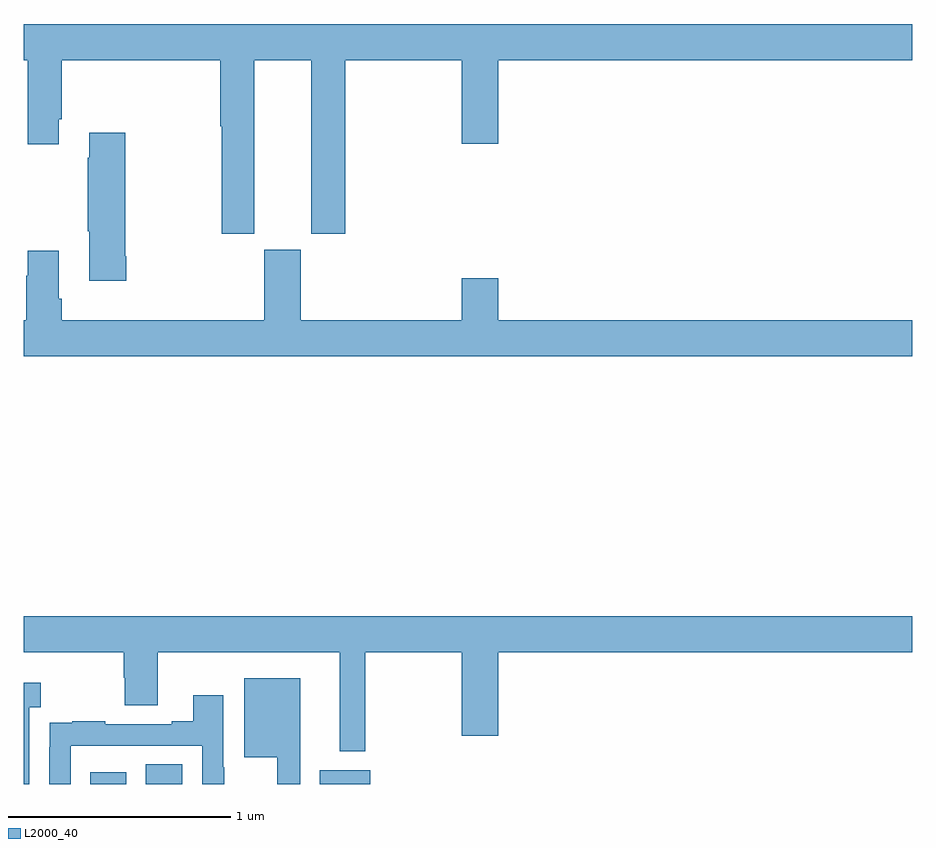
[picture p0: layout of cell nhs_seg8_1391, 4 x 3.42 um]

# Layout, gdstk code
import gdstk
lib = gdstk.Library(unit=1e-6, precision=1e-09)
def R(c, l, rs):  # rectangles x0, y0, x1, y1
    for r in rs: c.add(gdstk.rectangle(r[:2], r[2:], *l))
def P(c, l, *ps):  # polygons
    for p in ps: c.add(gdstk.Polygon(p, *l))
L2000_40 = (2000, 40)

nhs_seg8_1391 = lib.new_cell('nhs_seg8_1391')
R(nhs_seg8_1391, L2000_40, [(199.301,1123.9,199.462,1123.954), (199.55,1123.9,199.714,1123.988), (200.333,1123.9,200.56,1123.963)])
P(nhs_seg8_1391, L2000_40, [(200.038,1127.156),(200.294,1127.156),(200.294,1126.377),(200.447,1126.377),(200.447,1127.156),(200.972,1127.156),(200.972,1126.782),(201.136,1126.782),(201.136,1127.156),(203,1127.156),(203,1127.32),(199,1127.32),(199,1127.156),(199.019,1127.156),(199.019,1126.779),(199.159,1126.779),(199.159,1126.891),(199.172,1126.891),(199.172,1127.156),(199.886,1127.156),(199.886,1126.86),(199.891,1126.86),(199.891,1126.377),(200.038,1126.377)],
  [(199.463,1126.276),(199.458,1126.276),(199.458,1126.831),(199.295,1126.831),(199.295,1126.718),(199.288,1126.718),(199.288,1126.387),(199.295,1126.387),(199.295,1126.164),(199.463,1126.164)],
  [(203,1125.988),(201.136,1125.988),(201.136,1126.177),(200.972,1126.177),(200.972,1125.988),(200.248,1125.988),(200.248,1126.305),(200.084,1126.305),(200.084,1125.988),(199.172,1125.988),(199.172,1126.084),(199.159,1126.084),(199.159,1126.3),(199.019,1126.3),(199.019,1126.187),(199.012,1126.187),(199.012,1125.988),(199,1125.988),(199,1125.824),(203,1125.824)],
  [(199,1124.492),(199.451,1124.492),(199.451,1124.379),(199.456,1124.379),(199.456,1124.254),(199.603,1124.254),(199.603,1124.492),(200.423,1124.492),(200.423,1124.048),(200.537,1124.048),(200.537,1124.492),(200.972,1124.492),(200.972,1124.118),(201.136,1124.118),(201.136,1124.492),(203,1124.492),(203,1124.656),(199,1124.656)],
  [(200.245,1124.377),(199.994,1124.377),(199.994,1124.021),(200.141,1124.021),(200.141,1123.9),(200.245,1123.9)],
  [(199.026,1124.246),(199.078,1124.246),(199.078,1124.356),(199,1124.356),(199,1123.9),(199.026,1123.9)],
  [(199.212,1124.073),(199.803,1124.073),(199.803,1123.9),(199.902,1123.9),(199.902,1123.976),(199.899,1123.976),(199.899,1124.299),(199.763,1124.299),(199.763,1124.182),(199.667,1124.182),(199.667,1124.169),(199.367,1124.169),(199.367,1124.182),(199.219,1124.182),(199.219,1124.175),(199.117,1124.175),(199.117,1124.066),(199.116,1124.066),(199.116,1123.9),(199.212,1123.9)])

lib.write_gds('nhs_seg8_1391.gds')
